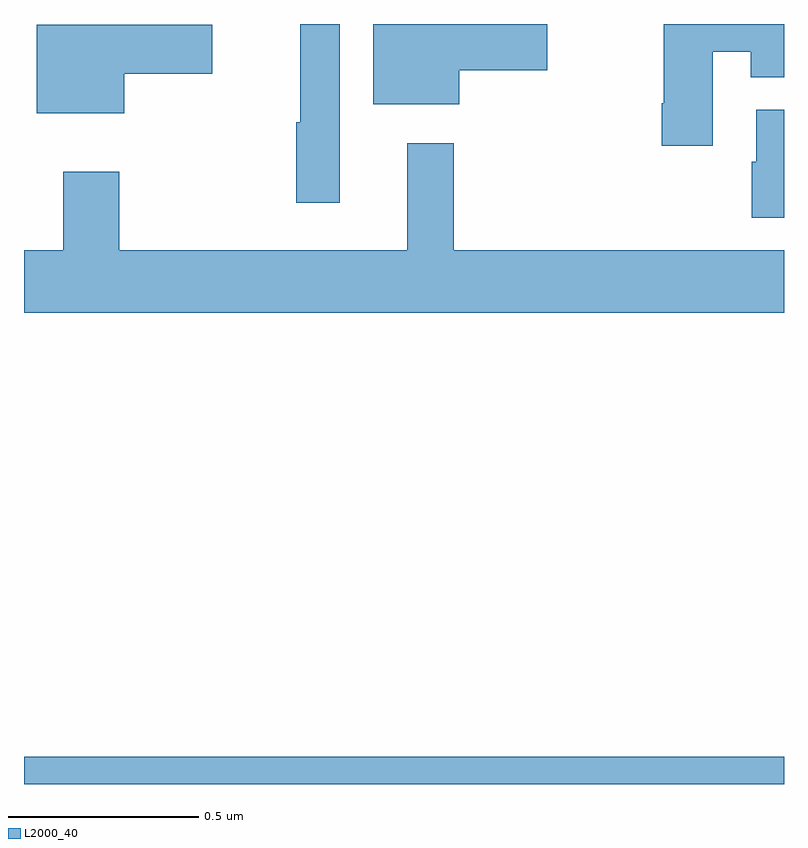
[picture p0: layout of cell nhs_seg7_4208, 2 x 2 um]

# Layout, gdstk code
import gdstk
lib = gdstk.Library(unit=1e-6, precision=1e-09)
def R(c, l, rs):  # rectangles x0, y0, x1, y1
    for r in rs: c.add(gdstk.rectangle(r[:2], r[2:], *l))
def P(c, l, *ps):  # polygons
    for p in ps: c.add(gdstk.Polygon(p, *l))
L2000_40 = (2000, 40)

nhs_seg7_4208 = lib.new_cell('nhs_seg7_4208')
R(nhs_seg7_4208, L2000_40, [(169,1042,171,1042.072)])
P(nhs_seg7_4208, L2000_40, [(169.831,1044),(169.727,1044),(169.727,1043.741),(169.717,1043.741),(169.717,1043.529),(169.831,1043.529)],
  [(170.812,1043.927),(170.912,1043.927),(170.912,1043.86),(171,1043.86),(171,1044),(170.683,1044),(170.683,1043.791),(170.678,1043.791),(170.678,1043.679),(170.812,1043.679)],
  [(170.146,1043.878),(170.377,1043.878),(170.377,1044),(169.919,1044),(169.919,1043.789),(170.146,1043.789)],
  [(169.264,1043.869),(169.495,1043.869),(169.495,1043.998),(169.034,1043.998),(169.034,1043.765),(169.264,1043.765)],
  [(171,1043.775),(170.927,1043.775),(170.927,1043.637),(170.915,1043.637),(170.915,1043.49),(171,1043.49)],
  [(171,1043.404),(170.131,1043.404),(170.131,1043.686),(170.009,1043.686),(170.009,1043.404),(169.251,1043.404),(169.251,1043.611),(169.103,1043.611),(169.103,1043.404),(169,1043.404),(169,1043.24),(171,1043.24)])

lib.write_gds('nhs_seg7_4208.gds')
